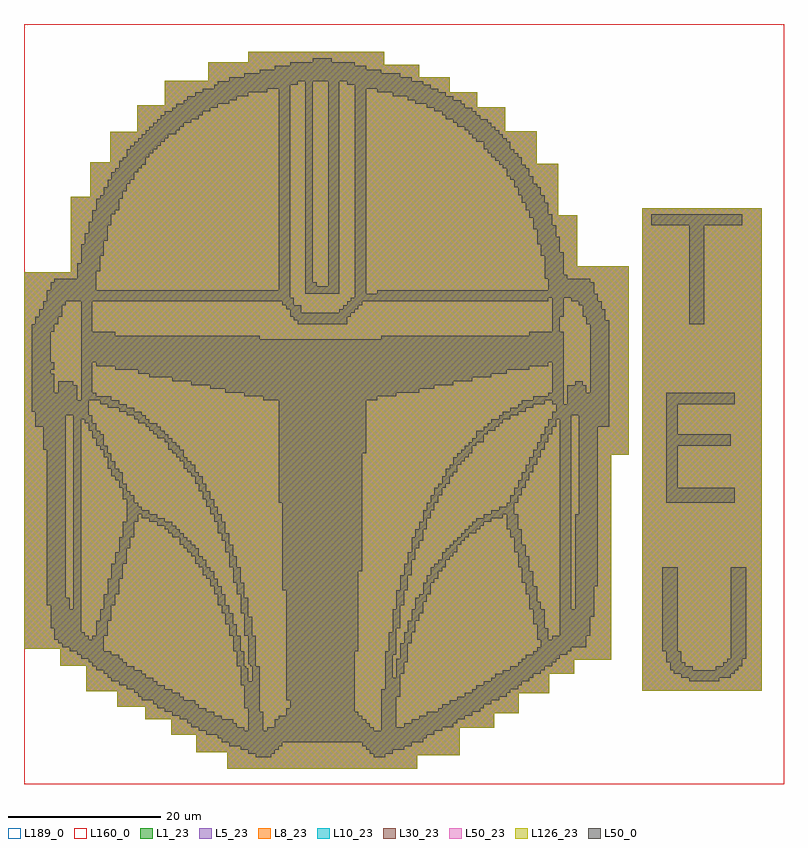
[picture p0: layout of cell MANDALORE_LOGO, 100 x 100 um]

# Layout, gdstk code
import gdstk
lib = gdstk.Library(unit=1e-6, precision=1e-09)
def R(c, l, rs):  # rectangles x0, y0, x1, y1
    for r in rs: c.add(gdstk.rectangle(r[:2], r[2:], *l))
def P(c, l, *ps):  # polygons
    for p in ps: c.add(gdstk.Polygon(p, *l))
L1_23 = (1, 23)
L5_23 = (5, 23)
L8_23 = (8, 23)
L10_23 = (10, 23)
L30_23 = (30, 23)
L50_0 = (50, 0)
L50_23 = (50, 23)
L126_23 = (126, 23)
L160_0 = (160, 0)
L189_0 = (189, 0)

mandalore_logo = lib.new_cell('MANDALORE_LOGO')
R(mandalore_logo, L1_23, [(81.33,12.275,97.06,75.77)])
P(mandalore_logo, L1_23, [(26.775,2),(26.775,4.195),(22.68,4.195),(22.68,6.495),(19.38,6.495),(19.38,8.49),(15.985,8.49),(15.985,10.19),(12.29,10.19),(12.29,12.19),(8.19,12.19),(8.19,15.585),(4.795,15.585),(4.795,17.785),(0.05,17.785),(0.05,67.33),(6.14,67.33),(6.14,77.24),(8.695,77.24),(8.695,81.84),(11.38,81.84),(11.38,85.805),(14.9,85.805),(14.9,89.325),(18.54,89.325),(18.54,92.52),(24.235,92.52),(24.235,94.95),(29.475,94.95),(29.475,96.355),(47.38,96.355),(47.38,94.63),(51.98,94.63),(51.98,92.965),(56.01,92.965),(56.01,91.05),(59.655,91.05),(59.655,89.065),(63.3,89.065),(63.3,85.87),(67.455,85.87),(67.455,81.585),(70.27,81.585),(70.27,74.81),(72.825,74.81),(72.825,68.095),(79.55,68.095),(79.55,43.335),(77.3,43.335),(77.3,16.36),(72.43,16.36),(72.43,14.525),(69.105,14.525),(69.105,11.97),(65.115,11.97),(65.115,9.31),(61.895,9.31),(61.895,7.415),(57.34,7.415),(57.34,3.785),(51.715,3.785),(51.715,2)])
R(mandalore_logo, L5_23, [(81.33,12.275,97.06,75.77)])
P(mandalore_logo, L5_23, [(26.775,2),(26.775,4.195),(22.68,4.195),(22.68,6.495),(19.38,6.495),(19.38,8.49),(15.985,8.49),(15.985,10.19),(12.29,10.19),(12.29,12.19),(8.19,12.19),(8.19,15.585),(4.795,15.585),(4.795,17.785),(0.05,17.785),(0.05,67.33),(6.14,67.33),(6.14,77.24),(8.695,77.24),(8.695,81.84),(11.38,81.84),(11.38,85.805),(14.9,85.805),(14.9,89.325),(18.54,89.325),(18.54,92.52),(24.235,92.52),(24.235,94.95),(29.475,94.95),(29.475,96.355),(47.38,96.355),(47.38,94.63),(51.98,94.63),(51.98,92.965),(56.01,92.965),(56.01,91.05),(59.655,91.05),(59.655,89.065),(63.3,89.065),(63.3,85.87),(67.455,85.87),(67.455,81.585),(70.27,81.585),(70.27,74.81),(72.825,74.81),(72.825,68.095),(79.55,68.095),(79.55,43.335),(77.3,43.335),(77.3,16.36),(72.43,16.36),(72.43,14.525),(69.105,14.525),(69.105,11.97),(65.115,11.97),(65.115,9.31),(61.895,9.31),(61.895,7.415),(57.34,7.415),(57.34,3.785),(51.715,3.785),(51.715,2)])
R(mandalore_logo, L8_23, [(81.33,12.275,97.06,75.77)])
P(mandalore_logo, L8_23, [(26.775,2),(26.775,4.195),(22.68,4.195),(22.68,6.495),(19.38,6.495),(19.38,8.49),(15.985,8.49),(15.985,10.19),(12.29,10.19),(12.29,12.19),(8.19,12.19),(8.19,15.585),(4.795,15.585),(4.795,17.785),(0.05,17.785),(0.05,67.33),(6.14,67.33),(6.14,77.24),(8.695,77.24),(8.695,81.84),(11.38,81.84),(11.38,85.805),(14.9,85.805),(14.9,89.325),(18.54,89.325),(18.54,92.52),(24.235,92.52),(24.235,94.95),(29.475,94.95),(29.475,96.355),(47.38,96.355),(47.38,94.63),(51.98,94.63),(51.98,92.965),(56.01,92.965),(56.01,91.05),(59.655,91.05),(59.655,89.065),(63.3,89.065),(63.3,85.87),(67.455,85.87),(67.455,81.585),(70.27,81.585),(70.27,74.81),(72.825,74.81),(72.825,68.095),(79.55,68.095),(79.55,43.335),(77.3,43.335),(77.3,16.36),(72.43,16.36),(72.43,14.525),(69.105,14.525),(69.105,11.97),(65.115,11.97),(65.115,9.31),(61.895,9.31),(61.895,7.415),(57.34,7.415),(57.34,3.785),(51.715,3.785),(51.715,2)])
R(mandalore_logo, L10_23, [(81.33,12.275,97.06,75.77)])
P(mandalore_logo, L10_23, [(26.775,2),(26.775,4.195),(22.68,4.195),(22.68,6.495),(19.38,6.495),(19.38,8.49),(15.985,8.49),(15.985,10.19),(12.29,10.19),(12.29,12.19),(8.19,12.19),(8.19,15.585),(4.795,15.585),(4.795,17.785),(0.05,17.785),(0.05,67.33),(6.14,67.33),(6.14,77.24),(8.695,77.24),(8.695,81.84),(11.38,81.84),(11.38,85.805),(14.9,85.805),(14.9,89.325),(18.54,89.325),(18.54,92.52),(24.235,92.52),(24.235,94.95),(29.475,94.95),(29.475,96.355),(47.38,96.355),(47.38,94.63),(51.98,94.63),(51.98,92.965),(56.01,92.965),(56.01,91.05),(59.655,91.05),(59.655,89.065),(63.3,89.065),(63.3,85.87),(67.455,85.87),(67.455,81.585),(70.27,81.585),(70.27,74.81),(72.825,74.81),(72.825,68.095),(79.55,68.095),(79.55,43.335),(77.3,43.335),(77.3,16.36),(72.43,16.36),(72.43,14.525),(69.105,14.525),(69.105,11.97),(65.115,11.97),(65.115,9.31),(61.895,9.31),(61.895,7.415),(57.34,7.415),(57.34,3.785),(51.715,3.785),(51.715,2)])
R(mandalore_logo, L30_23, [(81.33,12.275,97.06,75.77)])
P(mandalore_logo, L30_23, [(26.775,2),(26.775,4.195),(22.68,4.195),(22.68,6.495),(19.38,6.495),(19.38,8.49),(15.985,8.49),(15.985,10.19),(12.29,10.19),(12.29,12.19),(8.19,12.19),(8.19,15.585),(4.795,15.585),(4.795,17.785),(0.05,17.785),(0.05,67.33),(6.14,67.33),(6.14,77.24),(8.695,77.24),(8.695,81.84),(11.38,81.84),(11.38,85.805),(14.9,85.805),(14.9,89.325),(18.54,89.325),(18.54,92.52),(24.235,92.52),(24.235,94.95),(29.475,94.95),(29.475,96.355),(47.38,96.355),(47.38,94.63),(51.98,94.63),(51.98,92.965),(56.01,92.965),(56.01,91.05),(59.655,91.05),(59.655,89.065),(63.3,89.065),(63.3,85.87),(67.455,85.87),(67.455,81.585),(70.27,81.585),(70.27,74.81),(72.825,74.81),(72.825,68.095),(79.55,68.095),(79.55,43.335),(77.3,43.335),(77.3,16.36),(72.43,16.36),(72.43,14.525),(69.105,14.525),(69.105,11.97),(65.115,11.97),(65.115,9.31),(61.895,9.31),(61.895,7.415),(57.34,7.415),(57.34,3.785),(51.715,3.785),(51.715,2)])
P(mandalore_logo, L50_0, [(30.5,3.5),(30.5,4),(29.5,4),(29.5,4.5),(28.5,4.5),(28.5,5),(27,5),(27,5.5),(26,5.5),(26,6),(25.5,6),(25.5,6.5),(24,6.5),(24,7),(23,7),(23,7.5),(22,7.5),(22,8),(21.5,8),(21.5,8.5),(20.5,8.5),(20.5,9),(19.5,9),(19.5,9.5),(18.5,9.5),(18.5,10),(17.5,10),(17.5,10.5),(17,10.5),(17,11),(15.5,11),(15.5,11.5),(15,11.5),(15,12),(14.5,12),(14.5,12.5),(13.5,12.5),(13.5,13),(12.5,13),(12.5,13.5),(11.5,13.5),(11.5,14),(11,14),(11,14.5),(10.5,14.5),(10.5,15),(9.5,15),(9.5,15.5),(9,15.5),(9,16),(8.5,16),(8.5,16.5),(7.5,16.5),(7.5,17),(7,17),(7,17.5),(6,17.5),(6,18),(5,18),(5,18.5),(4.5,18.5),(4.5,19),(4,19),(4,20.5),(3.5,20.5),(3.5,23.5),(3,23.5),(3,44),(2.5,44),(2.5,47),(1.5,47),(1.5,48.5),(5.5,48.5),(5.5,24.5),(6,24.5),(6,23),(6.5,23),(6.5,48),(7.5,48),(7.5,20),(8,20),(8,19.5),(8.5,19.5),(8.5,19),(9,19),(9,19.5),(9.5,19.5),(9.5,21.5),(10,21.5),(10,23),(10.5,23),(10.5,25),(11,25),(11,27),(11.5,27),(11.5,29),(12,29),(12,30.5),(12.5,30.5),(12.5,32.5),(13,32.5),(13,34.5),(13.5,34.5),(13.5,35.5),(15,35.5),(15,34.5),(14.5,34.5),(14.5,32.5),(14,32.5),(14,31),(13.5,31),(13.5,29),(13,29),(13,27),(12.5,27),(12.5,25),(12,25),(12,23.5),(11.5,23.5),(11.5,21.5),(11,21.5),(11,19.5),(10.5,19.5),(10.5,17.5),(11.5,17.5),(11.5,17),(12.5,17),(12.5,16.5),(13,16.5),(13,16),(13.5,16),(13.5,15.5),(14.5,15.5),(14.5,15),(15.5,15),(15.5,14.5),(16,14.5),(16,14),(17,14),(17,13.5),(17.5,13.5),(17.5,13),(18.5,13),(18.5,12.5),(19.5,12.5),(19.5,12),(20.5,12),(20.5,11.5),(21,11.5),(21,11),(22.5,11),(22.5,10.5),(23,10.5),(23,10),(24,10),(24,9.5),(25,9.5),(25,9),(26,9),(26,8.5),(27.5,8.5),(27.5,8),(28,8),(28,7.5),(29,7.5),(29,7),(29.5,7),(29.5,10),(29,10),(29,13),(28.5,13),(28.5,15.5),(28,15.5),(28,17.5),(27.5,17.5),(27.5,19.5),(27,19.5),(27,21),(26.5,21),(26.5,22.5),(26,22.5),(26,23.5),(25.5,23.5),(25.5,25),(25,25),(25,26),(24.5,26),(24.5,27),(24,27),(24,27.5),(23.5,27.5),(23.5,28.5),(23,28.5),(23,29),(22.5,29),(22.5,30),(22,30),(22,30.5),(21.5,30.5),(21.5,31),(21,31),(21,31.5),(20.5,31.5),(20.5,32.5),(19.5,32.5),(19.5,33),(19,33),(19,33.5),(18.5,33.5),(18.5,34),(17.5,34),(17.5,34.5),(16.5,34.5),(16.5,35),(15.5,35),(15.5,35.5),(13.5,35.5),(13.5,37.5),(13,37.5),(13,39),(12.5,39),(12.5,40),(12,40),(12,40.5),(11.5,40.5),(11.5,41.5),(11,41.5),(11,43),(10.5,43),(10.5,44),(10,44),(10,44.5),(9.5,44.5),(9.5,45.5),(9,45.5),(9,46.5),(8.5,46.5),(8.5,47.5),(8,47.5),(8,48),(6.5,48),(6.5,48.5),(1.5,48.5),(1.5,49),(1,49),(1,60.5),(1.5,60.5),(1.5,61.5),(2,61.5),(2,62.5),(2.5,62.5),(2.5,63.5),(5.5,63.5),(5.5,63),(5,63),(5,61.5),(4.5,61.5),(4.5,60.5),(4,60.5),(4,59.5),(3.5,59.5),(3.5,55.5),(4,55.5),(4,54.5),(3.5,54.5),(3.5,54),(4,54),(4,51.5),(4.5,51.5),(4.5,53),(6.5,53),(6.5,52.5),(7,52.5),(7,50.5),(8.5,50.5),(8.5,48.5),(9,48.5),(9,47.5),(9.5,47.5),(9.5,46.5),(10,46.5),(10,46),(10.5,46),(10.5,44.5),(11,44.5),(11,43.5),(11.5,43.5),(11.5,42.5),(12,42.5),(12,41.5),(12.5,41.5),(12.5,41),(13,41),(13,39.5),(13.5,39.5),(13.5,38.5),(14,38.5),(14,38),(14.5,38),(14.5,37),(15,37),(15,36.5),(15.5,36.5),(15.5,36),(16.5,36),(16.5,35.5),(17.5,35.5),(17.5,35),(18.5,35),(18.5,34.5),(19.5,34.5),(19.5,34),(20,34),(20,33.5),(20.5,33.5),(20.5,33),(21,33),(21,32.5),(21.5,32.5),(21.5,32),(22,32),(22,31.5),(22.5,31.5),(22.5,31),(23,31),(23,30),(23.5,30),(23.5,29.5),(24,29.5),(24,28.5),(24.5,28.5),(24.5,28),(25,28),(25,27),(25.5,27),(25.5,26),(26,26),(26,25),(26.5,25),(26.5,23.5),(27,23.5),(27,22.5),(27.5,22.5),(27.5,21),(28,21),(28,19.5),(28.5,19.5),(28.5,17.5),(29,17.5),(29,15.5),(29.245,15.5),(29.245,15.255),(29.5,15.255),(29.5,13.5),(30,13.5),(30,15.5),(29.755,15.5),(29.755,15.75),(29.5,15.75),(29.5,19.5),(29,19.5),(29,22.5),(28.5,22.5),(28.5,25),(28,25),(28,26.5),(27.5,26.5),(27.5,28.5),(27,28.5),(27,30.5),(26.5,30.5),(26.5,32),(26,32),(26,33),(25.5,33),(25.5,34.5),(25,34.5),(25,35.5),(24.5,35.5),(24.5,36.5),(24,36.5),(24,37.5),(23.5,37.5),(23.5,38.5),(23,38.5),(23,39.5),(22.5,39.5),(22.5,40.5),(22,40.5),(22,41),(21.5,41),(21.5,41.5),(21,41.5),(21,42.5),(20.5,42.5),(20.5,43),(20,43),(20,43.5),(19.5,43.5),(19.5,44),(19,44),(19,45),(18.5,45),(18.5,45.5),(17.5,45.5),(17.5,46),(17,46),(17,46.5),(16.5,46.5),(16.5,47),(16,47),(16,47.5),(15,47.5),(15,48),(14.5,48),(14.5,48.5),(13.5,48.5),(13.5,49),(12.5,49),(12.5,49.5),(11,49.5),(11,50),(10,50),(10,50.5),(7.5,50.5),(7.5,55.5),(9,55.5),(9,51.5),(9.5,51.5),(9.5,51),(11.5,51),(11.5,50.5),(12.5,50.5),(12.5,50),(13.5,50),(13.5,49.5),(14.5,49.5),(14.5,49),(15.5,49),(15.5,48.5),(16,48.5),(16,48),(16.5,48),(16.5,47.5),(17.5,47.5),(17.5,47),(18,47),(18,46.5),(18.5,46.5),(18.5,46),(19,46),(19,45.5),(19.5,45.5),(19.5,45),(20,45),(20,44.5),(20.5,44.5),(20.5,44),(21,44),(21,43),(21.5,43),(21.5,42.5),(22,42.5),(22,42),(22.5,42),(22.5,41),(23,41),(23,40.5),(23.5,40.5),(23.5,39.5),(24,39.5),(24,38.5),(24.5,38.5),(24.5,37.5),(25,37.5),(25,36.5),(25.5,36.5),(25.5,35.5),(26,35.5),(26,34.5),(26.5,34.5),(26.5,33),(27,33),(27,31.5),(27.5,31.5),(27.5,30),(28,30),(28,28.5),(28.5,28.5),(28.5,26.5),(29,26.5),(29,24.5),(29.5,24.5),(29.5,22),(30,22),(30,19.5),(30.5,19.5),(30.5,15.5),(31,15.5),(31,9.5),(31.5,9.5),(31.5,7),(32,7),(32,7.5),(33,7.5),(33,8.5),(33.5,8.5),(33.5,9),(34.5,9),(34.5,10),(35,10),(35,11),(34.5,11),(34.5,25.5),(34,25.5),(34,37),(33.5,37),(33.5,50.5),(31.5,50.5),(31.5,51),(29,51),(29,51.5),(26.5,51.5),(26.5,52),(24.5,52),(24.5,52.5),(22,52.5),(22,53),(19.5,53),(19.5,53.5),(16.5,53.5),(16.5,54),(15,54),(15,54.5),(12,54.5),(12,55),(9.5,55),(9.5,55.5),(69,55.5),(69,55),(66.5,55),(66.5,54.5),(63.5,54.5),(63.5,54),(61.5,54),(61.5,53.5),(59,53.5),(59,53),(56.5,53),(56.5,52.5),(54,52.5),(54,52),(52,52),(52,51.5),(49,51.5),(49,51),(46.5,51),(46.5,50.5),(45,50.5),(45,43.5),(44.5,43.5),(44.5,28),(44,28),(44,17.5),(43.5,17.5),(43.5,9.5),(44,9.5),(44,9),(44.5,9),(44.5,8.5),(45,8.5),(45,8),(45.5,8),(45.5,7.5),(46,7.5),(46,7),(47,7),(47,12.5),(47.5,12.5),(47.5,17.5),(48,17.5),(48,20),(48.5,20),(48.5,23),(49,23),(49,25.5),(49.5,25.5),(49.5,27.5),(50,27.5),(50,29),(50.5,29),(50.5,30.5),(51,30.5),(51,32.5),(51.5,32.5),(51.5,33.5),(52,33.5),(52,34.5),(52.5,34.5),(52.5,36),(53,36),(53,37),(53.5,37),(53.5,38),(54,38),(54,39),(54.5,39),(54.5,39.5),(55,39.5),(55,40.5),(55.5,40.5),(55.5,41.5),(56,41.5),(56,42),(56.5,42),(56.5,43),(57,43),(57,43.5),(57.5,43.5),(57.5,44),(58,44),(58,44.5),(58.5,44.5),(58.5,45),(59,45),(59,45.5),(59.5,45.5),(59.5,46.5),(60.5,46.5),(60.5,47),(61,47),(61,47.5),(61.5,47.5),(61.5,48),(62.5,48),(62.5,48.5),(63,48.5),(63,49),(64,49),(64,49.5),(65,49.5),(65,50),(65.5,50),(65.5,50.5),(68.5,50.5),(68.5,50),(67,50),(67,49.5),(66,49.5),(66,49),(65,49),(65,48.5),(64,48.5),(64,48),(63,48),(63,47.5),(62.5,47.5),(62.5,47),(62,47),(62,46.5),(61,46.5),(61,46),(60.5,46),(60.5,45),(59.5,45),(59.5,44.5),(59,44.5),(59,43.5),(58.5,43.5),(58.5,43),(58,43),(58,42.5),(57.5,42.5),(57.5,42),(57,42),(57,41),(56.5,41),(56.5,40.5),(56,40.5),(56,39.5),(55.5,39.5),(55.5,39),(55,39),(55,38),(54.5,38),(54.5,37),(54,37),(54,36),(53.5,36),(53.5,35),(53,35),(53,33.5),(52.5,33.5),(52.5,32),(52,32),(52,31),(51.5,31),(51.5,29.5),(51,29.5),(51,27.5),(50.5,27.5),(50.5,25.5),(50,25.5),(50,23.5),(49.5,23.5),(49.5,20.5),(49,20.5),(49,17),(48.5,17),(48.5,14),(49,14),(49,16.5),(49.5,16.5),(49.5,18.5),(50,18.5),(50,20),(50.5,20),(50.5,21.5),(51,21.5),(51,23),(51.5,23),(51.5,24.5),(52,24.5),(52,25),(52.5,25),(52.5,26.5),(53,26.5),(53,27.5),(53.5,27.5),(53.5,28.5),(54,28.5),(54,29),(54.5,29),(54.5,29.5),(55,29.5),(55,30.5),(55.5,30.5),(55.5,31),(56,31),(56,31.5),(56.5,31.5),(56.5,32),(57,32),(57,32.5),(57.5,32.5),(57.5,33),(58,33),(58,33.5),(58.5,33.5),(58.5,34),(59,34),(59,34.5),(59.5,34.5),(59.5,35),(60.5,35),(60.5,35.5),(63,35.5),(63,35),(61.5,35),(61.5,34.5),(60.5,34.5),(60.5,34),(60,34),(60,33.5),(59.5,33.5),(59.5,33),(58.5,33),(58.5,32.5),(58,32.5),(58,32),(57.5,32),(57.5,31.5),(57,31.5),(57,30.5),(56.5,30.5),(56.5,30),(56,30),(56,29.5),(55.5,29.5),(55.5,28.5),(55,28.5),(55,28),(54.5,28),(54.5,27),(54,27),(54,26.5),(53.5,26.5),(53.5,25),(53,25),(53,24),(52.5,24),(52.5,22.5),(52,22.5),(52,21.5),(51.5,21.5),(51.5,20),(51,20),(51,18.5),(50.5,18.5),(50.5,16),(50,16),(50,14.5),(49.5,14.5),(49.5,11.5),(49,11.5),(49,7.5),(50,7.5),(50,8),(51,8),(51,8.5),(52,8.5),(52,9),(53,9),(53,9.5),(54.5,9.5),(54.5,10),(55,10),(55,10.5),(56,10.5),(56,11),(57,11),(57,11.5),(58,11.5),(58,12),(59,12),(59,12.5),(59.5,12.5),(59.5,13),(60.5,13),(60.5,13.5),(61.5,13.5),(61.5,14),(62,14),(62,14.5),(63,14.5),(63,15),(64,15),(64,15.5),(65,15.5),(65,16),(65.5,16),(65.5,16.5),(66,16.5),(66,17),(67,17),(67,17.5),(67.5,17.5),(67.5,18),(68,18),(68,19),(67.5,19),(67.5,21),(67,21),(67,23),(66.5,23),(66.5,25),(66,25),(66,26.5),(65.5,26.5),(65.5,28.5),(65,28.5),(65,30.5),(64.5,30.5),(64.5,32.5),(64,32.5),(64,33.5),(63.5,33.5),(63.5,35.5),(61.5,35.5),(61.5,36),(62.5,36),(62.5,36.5),(63.5,36.5),(63.5,37),(64,37),(64,38),(64.5,38),(64.5,39),(65,39),(65,40),(65.5,40),(65.5,41),(66,41),(66,42),(66.5,42),(66.5,43),(67,43),(67,44),(67.5,44),(67.5,45),(68,45),(68,46),(68.5,46),(68.5,47),(69,47),(69,48),(70,48),(70,47),(69.5,47),(69.5,46),(69,46),(69,45),(68.5,45),(68.5,44),(68,44),(68,43),(67.5,43),(67.5,42),(67,42),(67,41),(66.5,41),(66.5,40),(66,40),(66,39),(65.5,39),(65.5,38),(65,38),(65,37),(64.5,37),(64.5,35.5),(65,35.5),(65,33.5),(65.5,33.5),(65.5,31.5),(66,31.5),(66,30),(66.5,30),(66.5,28),(67,28),(67,26),(67.5,26),(67.5,24),(68,24),(68,23),(68.5,23),(68.5,20.5),(69,20.5),(69,19),(69.5,19),(69.5,19.5),(70.5,19.5),(70.5,48),(69.5,48),(69.5,48.5),(72,48.5),(72,23),(72.5,23),(72.5,35.5),(73,35.5),(73,48.5),(69.5,48.5),(69.5,49),(70,49),(70,50),(69.5,50),(69.5,50.5),(67,50.5),(67,51),(69,51),(69,51.5),(69.5,51.5),(69.5,55.5),(7.5,55.5),(7.5,63.5),(3,63.5),(3,65),(3.5,65),(3.5,66),(4,66),(4,66.5),(7,66.5),(7,68.5),(7.5,68.5),(7.5,71),(8,71),(8,72.5),(8.5,72.5),(8.5,74),(9,74),(9,75.5),(9.5,75.5),(9.5,77),(10,77),(10,77.5),(10.5,77.5),(10.5,78.5),(11,78.5),(11,79.5),(11.5,79.5),(11.5,80.5),(12,80.5),(12,81),(12.5,81),(12.5,82),(13,82),(13,82.5),(13.5,82.5),(13.5,83.5),(14,83.5),(14,84),(14.5,84),(14.5,84.5),(15,84.5),(15,85),(15.5,85),(15.5,85.5),(16,85.5),(16,86),(16.5,86),(16.5,86.5),(17,86.5),(17,87),(17.5,87),(17.5,87.5),(18,87.5),(18,88),(18.5,88),(18.5,88.5),(19.5,88.5),(19.5,89),(20,89),(20,89.5),(21,89.5),(21,90),(21.5,90),(21.5,90.5),(22.5,90.5),(22.5,91),(23.5,91),(23.5,91.5),(32,91.5),(32,91),(29.5,91),(29.5,90.5),(28,90.5),(28,90),(27,90),(27,89.5),(25.5,89.5),(25.5,89),(24.5,89),(24.5,88.5),(23.5,88.5),(23.5,88),(23,88),(23,87.5),(22,87.5),(22,87),(21,87),(21,86.5),(20.5,86.5),(20.5,86),(20,86),(20,85.5),(19,85.5),(19,85),(18.5,85),(18.5,84.5),(18,84.5),(18,84),(17.5,84),(17.5,83.5),(17,83.5),(17,83),(16.5,83),(16.5,82.5),(16,82.5),(16,81.5),(15.5,81.5),(15.5,81),(15,81),(15,80.5),(14.5,80.5),(14.5,79.5),(14,79.5),(14,79),(13.5,79),(13.5,78),(13,78),(13,77),(12.5,77),(12.5,75.5),(12,75.5),(12,75),(11.5,75),(11.5,73.5),(11,73.5),(11,71.5),(10.5,71.5),(10.5,69.5),(10,69.5),(10,67.5),(9.5,67.5),(9.5,65),(33.5,65),(33.5,91.5),(25,91.5),(25,92),(25.5,92),(25.5,92.5),(38,92.5),(38,66),(38.5,66),(38.5,65.5),(40,65.5),(40,92.5),(41.5,92.5),(41.5,64.5),(37,64.5),(37,92.5),(36,92.5),(36,92),(35,92),(35,64),(35.5,64),(35.5,63),(36.5,63),(36.5,62),(41.5,62),(41.5,62.5),(42,62.5),(42,63),(42.5,63),(42.5,63.5),(43,63.5),(43,64),(69,64),(69,63.5),(44.5,63.5),(44.5,63),(44,63),(44,62.5),(43.5,62.5),(43.5,62),(43,62),(43,61.5),(42.5,61.5),(42.5,60.5),(36,60.5),(36,61),(35.5,61),(35.5,61.5),(35,61.5),(35,62.5),(34.5,62.5),(34.5,63),(34,63),(34,63.5),(9,63.5),(9,59.5),(12,59.5),(12,59),(31,59),(31,58.5),(47,58.5),(47,59),(66.5,59),(66.5,59.5),(69.5,59.5),(69.5,64),(71,64),(71,61.5),(70.5,61.5),(70.5,59.5),(71,59.5),(71,50),(71.5,50),(71.5,52.5),(72.5,52.5),(72.5,53),(73.5,53),(73.5,52.5),(74,52.5),(74,51.5),(74.5,51.5),(74.5,60.5),(74,60.5),(74,61.5),(73.5,61.5),(73.5,63),(73,63),(73,63.5),(72,63.5),(72,64),(43.5,64),(43.5,91.5),(45,91.5),(45,64.5),(46.5,64.5),(46.5,65),(69,65),(69,66.5),(68.5,66.5),(68.5,69.5),(68,69.5),(68,71),(67.5,71),(67.5,73),(67,73),(67,74.5),(66.5,74.5),(66.5,75.5),(66,75.5),(66,76.5),(65.5,76.5),(65.5,77.5),(65,77.5),(65,78.5),(64.5,78.5),(64.5,79.5),(64,79.5),(64,80),(63.5,80),(63.5,81),(63,81),(63,81.5),(62.5,81.5),(62.5,82),(62,82),(62,82.5),(61.5,82.5),(61.5,83),(61,83),(61,83.5),(60.5,83.5),(60.5,84.5),(59.5,84.5),(59.5,85),(59,85),(59,85.5),(58.5,85.5),(58.5,86),(58,86),(58,86.5),(57,86.5),(57,87),(56.5,87),(56.5,87.5),(55.5,87.5),(55.5,88),(55,88),(55,88.5),(54,88.5),(54,89),(53,89),(53,89.5),(51.5,89.5),(51.5,90),(50.5,90),(50.5,90.5),(48.5,90.5),(48.5,91),(46.5,91),(46.5,91.5),(43.5,91.5),(43.5,92),(42.5,92),(42.5,92.5),(27,92.5),(27,93),(29,93),(29,93.5),(31,93.5),(31,94),(33,94),(33,94.5),(35,94.5),(35,95),(38,95),(38,95.5),(40.5,95.5),(40.5,95),(43.5,95),(43.5,94.5),(45,94.5),(45,94),(47,94),(47,93.5),(49.5,93.5),(49.5,93),(51,93),(51,92.5),(52.5,92.5),(52.5,92),(53.5,92),(53.5,91.5),(54.5,91.5),(54.5,91),(55.5,91),(55.5,90.5),(56.5,90.5),(56.5,90),(57.5,90),(57.5,89.5),(58,89.5),(58,89),(59,89),(59,88.5),(59.5,88.5),(59.5,88),(60,88),(60,87.5),(61,87.5),(61,87),(61.5,87),(61.5,86.5),(62,86.5),(62,86),(62.5,86),(62.5,85.5),(63,85.5),(63,85),(63.5,85),(63.5,84.5),(64,84.5),(64,83.5),(64.5,83.5),(64.5,83),(65,83),(65,82.5),(65.5,82.5),(65.5,81.5),(66,81.5),(66,81),(66.5,81),(66.5,80),(67,80),(67,79),(67.5,79),(67.5,78.5),(68,78.5),(68,77.5),(68.5,77.5),(68.5,76.5),(69,76.5),(69,75),(69.5,75),(69.5,73.5),(70,73.5),(70,72),(70.5,72),(70.5,70),(71,70),(71,67),(71.5,67),(71.5,66.5),(74.5,66.5),(74.5,66),(75,66),(75,64.5),(75.5,64.5),(75.5,63.5),(76,63.5),(76,62.5),(76.5,62.5),(76.5,61),(77,61),(77,47),(75.5,47),(75.5,26),(75,26),(75,22),(74.5,22),(74.5,19.5),(74,19.5),(74,18),(72,18),(72,17.5),(71.5,17.5),(71.5,17),(70.5,17),(70.5,16.5),(70,16.5),(70,16),(69.5,16),(69.5,15.5),(68.5,15.5),(68.5,15),(68,15),(68,14.5),(67,14.5),(67,14),(66.5,14),(66.5,13.5),(65.5,13.5),(65.5,13),(65,13),(65,12.5),(64,12.5),(64,12),(63.5,12),(63.5,11.5),(62.5,11.5),(62.5,11),(61.5,11),(61.5,10.5),(60.5,10.5),(60.5,10),(60,10),(60,9.5),(59,9.5),(59,9),(58,9),(58,8.5),(57,8.5),(57,8),(56.5,8),(56.5,7.5),(55,7.5),(55,7),(54,7),(54,6.5),(53,6.5),(53,6),(52.5,6),(52.5,5.5),(51,5.5),(51,5),(50,5),(50,4.5),(48.5,4.5),(48.5,4),(47.5,4),(47.5,3.5),(46,3.5),(46,4),(45.5,4),(45.5,4.5),(45,4.5),(45,5),(44.5,5),(44.5,5.5),(34,5.5),(34,5),(33.5,5),(33.5,4.5),(33,4.5),(33,4),(32.5,4),(32.5,3.5)],
  [(87.5,13.5),(87.5,14),(86.5,14),(86.5,14.5),(85.5,14.5),(85.5,15),(85,15),(85,16),(84.5,16),(84.5,17.5),(84,17.5),(84,28.5),(86,28.5),(86,17.5),(86.5,17.5),(86.5,16),(87,16),(87,15.5),(88,15.5),(88,15),(91,15),(91,15.5),(92,15.5),(92,16),(92.5,16),(92.5,16.5),(93,16.5),(93,28.5),(95,28.5),(95,16.5),(94.5,16.5),(94.5,15.5),(94,15.5),(94,15),(93.5,15),(93.5,14.5),(93,14.5),(93,14),(91.5,14),(91.5,13.5)],
  [(84.5,37),(84.5,51.5),(93.5,51.5),(93.5,50),(86,50),(86,46),(93,46),(93,44.5),(86,44.5),(86,39),(93.5,39),(93.5,37)],
  [(87.5,60.5),(87.5,73.5),(82.5,73.5),(82.5,75),(94.5,75),(94.5,73.5),(89.5,73.5),(89.5,60.5)])
R(mandalore_logo, L50_23, [(81.33,12.275,97.06,75.77)])
P(mandalore_logo, L50_23, [(26.775,2),(26.775,4.195),(22.68,4.195),(22.68,6.495),(19.38,6.495),(19.38,8.49),(15.985,8.49),(15.985,10.19),(12.29,10.19),(12.29,12.19),(8.19,12.19),(8.19,15.585),(4.795,15.585),(4.795,17.785),(0.05,17.785),(0.05,67.33),(6.14,67.33),(6.14,77.24),(8.695,77.24),(8.695,81.84),(11.38,81.84),(11.38,85.805),(14.9,85.805),(14.9,89.325),(18.54,89.325),(18.54,92.52),(24.235,92.52),(24.235,94.95),(29.475,94.95),(29.475,96.355),(47.38,96.355),(47.38,94.63),(51.98,94.63),(51.98,92.965),(56.01,92.965),(56.01,91.05),(59.655,91.05),(59.655,89.065),(63.3,89.065),(63.3,85.87),(67.455,85.87),(67.455,81.585),(70.27,81.585),(70.27,74.81),(72.825,74.81),(72.825,68.095),(79.55,68.095),(79.55,43.335),(77.3,43.335),(77.3,16.36),(72.43,16.36),(72.43,14.525),(69.105,14.525),(69.105,11.97),(65.115,11.97),(65.115,9.31),(61.895,9.31),(61.895,7.415),(57.34,7.415),(57.34,3.785),(51.715,3.785),(51.715,2)])
R(mandalore_logo, L126_23, [(81.33,12.275,97.06,75.77)])
P(mandalore_logo, L126_23, [(26.775,2),(26.775,4.195),(22.68,4.195),(22.68,6.495),(19.38,6.495),(19.38,8.49),(15.985,8.49),(15.985,10.19),(12.29,10.19),(12.29,12.19),(8.19,12.19),(8.19,15.585),(4.795,15.585),(4.795,17.785),(0.05,17.785),(0.05,67.33),(6.14,67.33),(6.14,77.24),(8.695,77.24),(8.695,81.84),(11.38,81.84),(11.38,85.805),(14.9,85.805),(14.9,89.325),(18.54,89.325),(18.54,92.52),(24.235,92.52),(24.235,94.95),(29.475,94.95),(29.475,96.355),(47.38,96.355),(47.38,94.63),(51.98,94.63),(51.98,92.965),(56.01,92.965),(56.01,91.05),(59.655,91.05),(59.655,89.065),(63.3,89.065),(63.3,85.87),(67.455,85.87),(67.455,81.585),(70.27,81.585),(70.27,74.81),(72.825,74.81),(72.825,68.095),(79.55,68.095),(79.55,43.335),(77.3,43.335),(77.3,16.36),(72.43,16.36),(72.43,14.525),(69.105,14.525),(69.105,11.97),(65.115,11.97),(65.115,9.31),(61.895,9.31),(61.895,7.415),(57.34,7.415),(57.34,3.785),(51.715,3.785),(51.715,2)])
R(mandalore_logo, L160_0, [(0,0,100,100)])
R(mandalore_logo, L189_0, [(0,0,100,100)])

lib.write_gds('MANDALORE_LOGO.gds')
